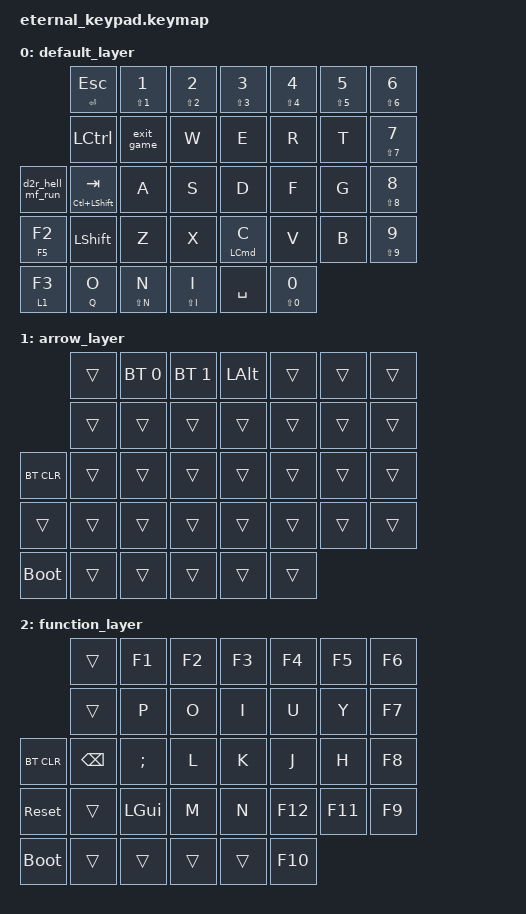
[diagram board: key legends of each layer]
/*
 * Copyright (c) 2022 The ZMK Contributors
 *
 * SPDX-License-Identifier: MIT
 */

#include <behaviors.dtsi>
#include <dt-bindings/zmk/keys.h>
#include <dt-bindings/zmk/bt.h>
#include <dt-bindings/zmk/outputs.h>
#include <dt-bindings/zmk/rgb.h>

#define BASE        0
#define ARROW       1
#define FUNC        2

/ {
  chosen {
      zmk,kscan = &kscan0;
      zmk,matrix-transform = &default_transform;
  };
  behaviors {

        td: tapdance {
            compatible = "zmk,behavior-hold-tap";
            label = "TAPDANCE";
            #binding-cells = <2>;
            tapping-term-ms = <200>;
            quick_tap_ms = <0>;
            flavor = "tap-preferred";
            bindings = <&kp>, <&kp>;
        };
   };
   macros {
        d2r_hell_mf_run: d2r_hell_mf_run {
            compatible = "zmk,behavior-macro";
            #binding-cells = <0>;
            bindings
                = <&macro_tap &kp RET>
                , <&macro_tap &kp H>;
        };
        exit_game: exit_game {
            compatible = "zmk,behavior-macro";
            #binding-cells = <0>;
            bindings
                = <&macro_tap &kp ESC>
                , <&macro_tap &kp UP>
                , <&macro_tap &kp RET>;
            };
    };

  keymap {
    compatible = "zmk,keymap";

    default_layer {
      bindings = <
                          &td RET ESC        &td LS(N1) N1     &td LS(N2) N2   &td LS(N3) N3    &td LS(N4) N4   &td LS(N5) N5  &td LS(N6) N6
                          &kp LCTRL          &exit_game        &kp W           &kp E            &kp R           &kp T          &td LS(N7) N7
        &d2r_hell_mf_run  &td LC(LSHFT) TAB  &kp A             &kp S           &kp D            &kp F           &kp G          &td LS(N8) N8
        &td F5 F2         &kp LSHFT          &kp Z             &kp X           &td LCMD C       &kp V           &kp B          &td LS(N9) N9
        &lt 1 F3          &td Q O            &td LS(N) N       &td LS(I) I     &kp SPACE        &td LS(N0) N0
      >;
    };

    arrow_layer {
      bindings = <
                    &trans       &bt BT_SEL 0 &bt BT_SEL 1 &kp LALT  &trans    &trans    &trans
                    &trans       &trans       &trans       &trans    &trans    &trans   &trans
        &bt BT_CLR  &trans       &trans       &trans       &trans    &trans    &trans   &trans
        &trans      &trans       &trans       &trans       &trans    &trans    &trans   &trans
        &bootloader &trans       &trans       &trans       &trans    &trans
      >;
    };

    function_layer {
      bindings = <
                    &trans    &kp F1    &kp F2   &kp F3    &kp F4   &kp F5   &kp F6
                    &trans    &kp P     &kp O    &kp I     &kp U    &kp Y    &kp F7
        &bt BT_CLR  &kp BSPC  &kp SEMI  &kp L    &kp K     &kp J    &kp H    &kp F8
        &sys_reset      &trans    &kp LGUI  &kp M    &kp N     &kp F12  &kp F11  &kp F9
        &bootloader &trans    &trans    &trans             &trans            &kp F10
      >;
    };
  };
};
